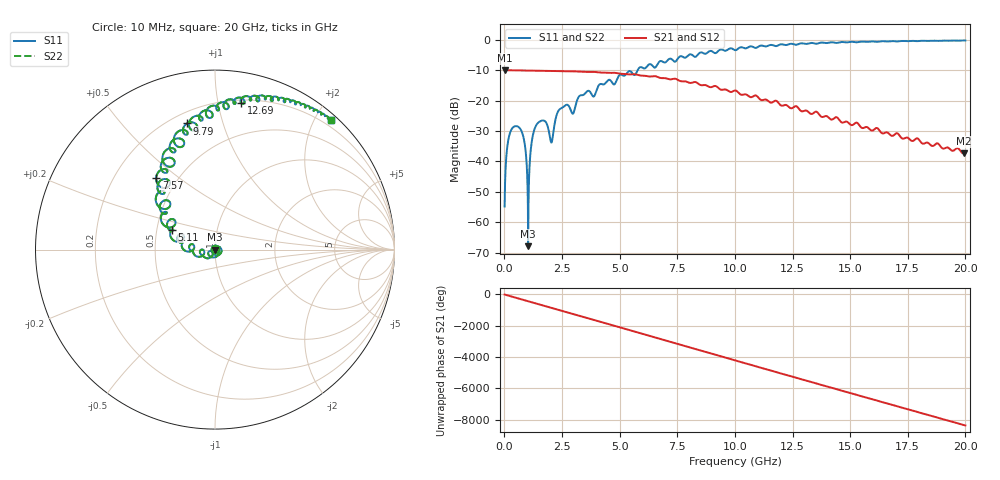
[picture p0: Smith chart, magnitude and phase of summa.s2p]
! TOUCHSTONE file generated by CST DESIGN STUDIO
! Date and time: Wed Oct  5 17:42:57 2022
! Project name: C:\Users\posit\AppData\Local\Temp\CSTDE1\Temp\DE4\Untitled_0.cst
! Tree item: Tasks\SPara1\S-Parameters
! Header version: 2018
! Port assignment regex: !\s*Touchstone port\s*([0-9]+)\s*=\s*(CST MWS port|CST DS port)\s*([0-9]+|Zmin|Zmax)\s*\(\"(.*)\"\)(\s*mode\s*([0-9]+))?.*
! Touchstone port assignment:
! Touchstone port 1 = CST DS port 1 ("")
! Touchstone port 2 = CST DS port 2 ("")
# GHz S RI R 50
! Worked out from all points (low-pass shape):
!   2000 points, 10 MHz to 20 GHz, reference 50 ohm
!   highest |S21| = -10.00 dB at 10 MHz (marker M1); lowest = -37.3 dB at 19.92 GHz (marker M2)
!   |S21| within 3 dB of the highest: start of sweep to 7.154 GHz; 7.244 GHz to 7.481 GHz (236.8 MHz wide, 3.22 % of centre)
!   lowest |S11| = -67.9 dB at 1.03 GHz (marker M3), VSWR 1.00, Z = 50 - j0.0207 ohm
!   |S11| at or under -10 dB: start of sweep to 5.783 GHz
!   |S22| runs from -67.9 to -0.2 dB; largest |S21 - S12| = 0
!   S11 on the Smith chart (normalised r, x): 10 MHz: 1.00, +0.00; 5.11 GHz: 0.60, +0.14; 7.57 GHz: 0.38, +0.41; 9.79 GHz: 0.26, +0.77; 12.69 GHz: 0.22, +1.17; 20 GHz: 0.09, +2.23
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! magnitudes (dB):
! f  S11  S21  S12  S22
! 10 MHz  -54.8  -10.0  -10.0  -54.8
! 180 MHz  -32.6  -10.0  -10.0  -32.6
! 440 MHz  -28.5  -10.1  -10.1  -28.5
! 790 MHz  -31.0  -10.1  -10.1  -31.0
! 1.03 GHz  -67.9  -10.1  -10.1  -67.9
! 1.22 GHz  -32.0  -10.1  -10.1  -32.0
! 1.41 GHz  -27.8  -10.2  -10.2  -27.8
! 1.75 GHz  -26.7  -10.2  -10.2  -26.7
! 2.04 GHz  -33.8  -10.2  -10.2  -33.8
! 2.37 GHz  -23.1  -10.3  -10.3  -23.1
! 2.98 GHz  -24.3  -10.4  -10.4  -24.3
! 3.35 GHz  -18.2  -10.5  -10.5  -18.2
! 5.11 GHz  -11.6  -11.2  -11.2  -11.6
! 6.68 GHz  -7.6  -12.3  -12.3  -7.6
! 7.57 GHz  -5.8  -13.4  -13.4  -5.8
! 9.79 GHz  -2.9  -17.1  -17.1  -2.9
! 10.01 GHz  -3.4  -16.7  -16.7  -3.4
! 12.69 GHz  -1.6  -21.9  -21.9  -1.6
! 13.34 GHz  -1.1  -24.4  -24.4  -1.1
! 16.67 GHz  -0.5  -30.8  -30.8  -0.5
! 19.92 GHz  -0.2  -37.3  -37.3  -0.2
! 20 GHz  -0.3  -37.2  -37.2  -0.3
